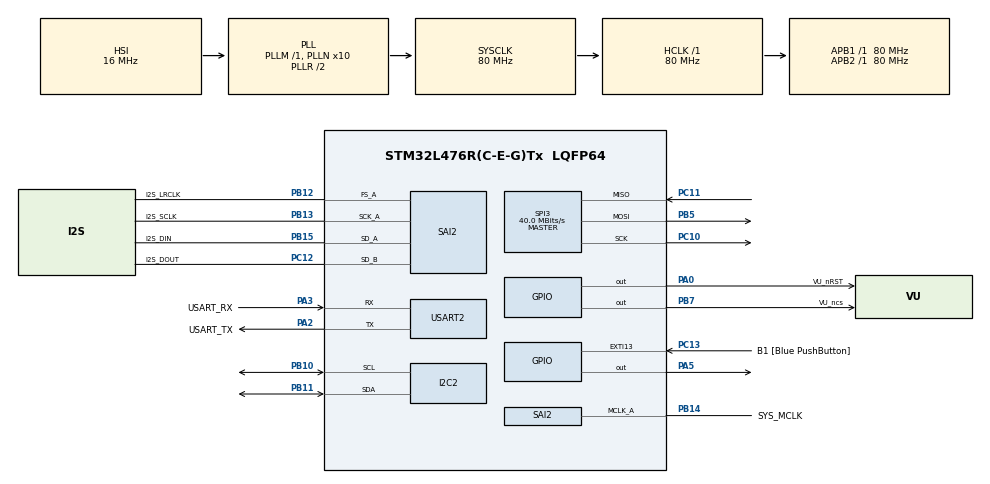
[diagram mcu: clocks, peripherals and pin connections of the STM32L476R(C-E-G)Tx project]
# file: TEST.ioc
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Dma.Request0=SAI2_B
Dma.Request1=SAI2_A
Dma.SAI2_A.1.Direction=DMA_MEMORY_TO_PERIPH
Dma.SAI2_A.1.Instance=DMA1_Channel6
Dma.SAI2_A.1.MemDataAlignment=DMA_MDATAALIGN_WORD
Dma.SAI2_A.1.MemInc=DMA_MINC_ENABLE
Dma.SAI2_A.1.Mode=DMA_CIRCULAR
Dma.SAI2_A.1.PeriphDataAlignment=DMA_PDATAALIGN_WORD
Dma.SAI2_A.1.PeriphInc=DMA_PINC_DISABLE
Dma.SAI2_A.1.Priority=DMA_PRIORITY_LOW
Dma.SAI2_B.0.Direction=DMA_PERIPH_TO_MEMORY
Dma.SAI2_B.0.Instance=DMA1_Channel7
Dma.SAI2_B.0.MemDataAlignment=DMA_MDATAALIGN_WORD
Dma.SAI2_B.0.MemInc=DMA_MINC_ENABLE
Dma.SAI2_B.0.Mode=DMA_CIRCULAR
Dma.SAI2_B.0.PeriphDataAlignment=DMA_PDATAALIGN_WORD
Dma.SAI2_B.0.PeriphInc=DMA_PINC_DISABLE
Dma.SAI2_B.0.Priority=DMA_PRIORITY_LOW
I2C2.Timing=0x10D19CE4
Mcu.Family=STM32L4
Mcu.Name=STM32L476R(C-E-G)Tx
Mcu.Package=LQFP64
NVIC.DMA1_Channel6_IRQn=true\:0\:0\:false\:false\:true\:false\:true\:true
NVIC.DMA1_Channel7_IRQn=true\:0\:0\:false\:false\:true\:false\:true\:true
NVIC.PriorityGroup=NVIC_PRIORITYGROUP_4
NVIC.SAI2_IRQn=true\:0\:0\:false\:false\:true\:true\:true\:true
PA0.GPIO_Label=VU_nRST
PA0.Signal=GPIO_Output
PA13\ (JTMS-SWDIO).GPIO_Label=TMS
PA13\ (JTMS-SWDIO).Mode=Serial_Wire
PA13\ (JTMS-SWDIO).Signal=SYS_JTMS-SWDIO
PA14\ (JTCK-SWCLK).GPIO_Label=TCK
PA14\ (JTCK-SWCLK).Mode=Serial_Wire
PA14\ (JTCK-SWCLK).Signal=SYS_JTCK-SWCLK
PA2.GPIO_Label=USART_TX
PA2.GPIO_Mode=GPIO_MODE_AF_PP
PA2.GPIO_PuPd=GPIO_NOPULL
PA2.GPIO_Speed=GPIO_SPEED_FREQ_VERY_HIGH
PA2.Mode=Asynchronous
PA2.Signal=USART2_TX
PA3.GPIO_Label=USART_RX
PA3.GPIO_Mode=GPIO_MODE_AF_PP
PA3.GPIO_PuPd=GPIO_NOPULL
PA3.GPIO_Speed=GPIO_SPEED_FREQ_VERY_HIGH
PA3.Mode=Asynchronous
PA3.Signal=USART2_RX
PA5.Signal=GPIO_Output
PB10.Mode=I2C
PB10.Signal=I2C2_SCL
PB11.Mode=I2C
PB11.Signal=I2C2_SDA
PB12.GPIO_Label=I2S_LRCLK
PB12.Mode=SAI_A_MasterWithClock
PB12.Signal=SAI2_FS_A
PB13.GPIO_Label=I2S_SCLK
PB13.Mode=SAI_A_MasterWithClock
PB13.Signal=SAI2_SCK_A
PB14.GPIO_Label=SYS_MCLK
PB14.Mode=SAI_A_MasterWithClock
PB14.Signal=SAI2_MCLK_A
PB15.GPIO_Label=I2S_DIN
PB15.Mode=SAI_A_MasterWithClock
PB15.Signal=SAI2_SD_A
PB3\ (JTDO-TRACESWO).GPIO_Label=SWO
PB3\ (JTDO-TRACESWO).Signal=SYS_JTDO-SWO
PB5.Mode=Full_Duplex_Master
PB5.Signal=SPI3_MOSI
PB7.GPIO_Label=VU_ncs
PB7.GPIO_PuPd=GPIO_NOPULL
PB7.GPIO_Speed=GPIO_SPEED_FREQ_LOW
PB7.Signal=GPIO_Output
PC10.Mode=Full_Duplex_Master
PC10.Signal=SPI3_SCK
PC11.Mode=Full_Duplex_Master
PC11.Signal=SPI3_MISO
PC12.GPIO_Label=I2S_DOUT
PC12.Mode=SAI_B_SyncSlave
PC12.Signal=SAI2_SD_B
PC13.GPIO_Label=B1 [Blue PushButton]
PC13.GPIO_ModeDefaultEXTI=GPIO_MODE_IT_FALLING
PC13.GPIO_PuPd=GPIO_NOPULL
PC13.Signal=GPXTI13
PC14-OSC32_IN\ (PC14).Mode=LSE-External-Oscillator
PC14-OSC32_IN\ (PC14).Signal=RCC_OSC32_IN
PC15-OSC32_OUT\ (PC15).Mode=LSE-External-Oscillator
PC15-OSC32_OUT\ (PC15).Signal=RCC_OSC32_OUT
PH0-OSC_IN\ (PH0).Signal=RCC_OSC_IN
PH1-OSC_OUT\ (PH1).Signal=RCC_OSC_OUT
ProjectManager.HeapSize=0x200
ProjectManager.StackSize=0x400
ProjectManager.TargetToolchain=STM32CubeIDE
RCC.ADCFreq_Value=104000000
RCC.AHBFreq_Value=80000000
RCC.APB1Freq_Value=80000000
RCC.APB1TimFreq_Value=80000000
RCC.APB2Freq_Value=80000000
RCC.APB2TimFreq_Value=80000000
RCC.CortexFreq_Value=80000000
RCC.HCLKFreq_Value=80000000
RCC.HSE_VALUE=8000000
RCC.HSI_VALUE=16000000
RCC.MSI_VALUE=4000000
RCC.PLLN=10
RCC.PLLSAI1N=13
RCC.PLLSAI1P=RCC_PLLP_DIV17
RCC.PLLSourceVirtual=RCC_PLLSOURCE_HSI
RCC.PREFETCH_ENABLE=1
RCC.SYSCLKFreq_VALUE=80000000
RCC.SYSCLKSource=RCC_SYSCLKSOURCE_PLLCLK
RCC.USBFreq_Value=104000000
RCC.VCOOutputFreq_Value=160000000
SAI2.AudioFrequency-SAI_A_MasterWithClock=SAI_AUDIO_FREQUENCY_48K
SAI2.ErrorAudioFreq-SAI_A_MasterWithClock=-0.42 %
SAI2.InitProtocol-SAI_A_MasterWithClock=Enable
SAI2.InitProtocol-SAI_B_SyncSlave=Enable
SAI2.Instance-SAI_A_MasterWithClock=SAI$Index_Block_A
SAI2.Instance-SAI_B_SyncSlave=SAI$Index_Block_B
SAI2.MClockEnable-SAI_A_MasterWithClock=SAI_MASTERCLOCK_ENABLE
SAI2.RealAudioFreq-SAI_A_MasterWithClock=47.794 KHz
SAI2.VirtualMode-SAI_A_MasterWithClock=VM_MASTER
SAI2.VirtualMode-SAI_B_SyncSlave=VM_SLAVE
SAI2.VirtualProtocol-SAI_A_BASIC=VM_BASIC_PROTOCOL
SAI2.VirtualProtocol-SAI_B_BASIC=VM_BASIC_PROTOCOL
SPI3.CalculateBaudRate=40.0 MBits/s
SPI3.DataSize=SPI_DATASIZE_8BIT
SPI3.Direction=SPI_DIRECTION_2LINES
SPI3.Mode=SPI_MODE_MASTER
SPI3.VirtualType=VM_MASTER
USART2.VirtualMode-Asynchronous=VM_ASYNC
VP_SAI2_VP_$IpInstance_SAIA_SAI_BASIC.Mode=SAI_A_BASIC
VP_SAI2_VP_$IpInstance_SAIB_SAI_BASIC.Mode=SAI_B_BASIC
board=NUCLEO-L476RG

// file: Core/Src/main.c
/* USER CODE BEGIN Header */
/**
  ******************************************************************************
  * @file           : main.c
  * @brief          : Main program body
  ******************************************************************************
  * @attention
  *
  * Copyright (c) 2025 STMicroelectronics.
  * All rights reserved.
  *
  * This software is licensed under terms that can be found in the LICENSE file
  * in the root directory of this software component.
  * If no LICENSE file comes with this software, it is provided AS-IS.
  *
  ******************************************************************************
  */
/* USER CODE END Header */
#include "main.h"
#include "dma.h"
#include "i2c.h"
#include "sai.h"
#include "spi.h"
#include "usart.h"
#include "gpio.h"

/* USER CODE BEGIN Includes */
#include "stdio.h"
/* USER CODE END Includes */

/* USER CODE BEGIN PV */
extern SPI_HandleTypeDef hspi3;
/* USER CODE END PV */

void SystemClock_Config(void);
void PeriphCommonClock_Config(void);
/* USER CODE BEGIN PFP */
uint8_t MCP23S17_SPI_Transmit(uint8_t data);
void MCP23S17_WriteRegister(uint8_t reg, uint8_t value);
uint8_t MCP23S17_ReadRegister(uint8_t reg);
/* USER CODE END PFP */

/* USER CODE BEGIN 0 */

// minicom -D /dev/ttyACM-1
// ctrl+a puis q

int __io_putchar(int ch) {
	HAL_UART_Transmit(&huart2, (uint8_t *)&ch, 1, HAL_MAX_DELAY);
	return ch;
}
/* USER CODE END 0 */

int main(void)
{

  /* MCU Configuration--------------------------------------------------------*/

  /* Reset of all peripherals, Initializes the Flash interface and the Systick. */
  HAL_Init();

  /* USER CODE BEGIN Init */

 // __HAL_SAI_ENABLE(&hsai_BlockB2);

  /* USER CODE END Init */

  /* Configure the system clock */
  SystemClock_Config();

  /* Configure the peripherals common clocks */
  PeriphCommonClock_Config();

  /* Initialize all configured peripherals */
  MX_GPIO_Init();
  MX_DMA_Init();
  MX_USART2_UART_Init();
  MX_SPI3_Init();
  MX_I2C2_Init();
  MX_SAI2_Init();

  /* USER CODE BEGIN 2 */
  HAL_GPIO_WritePin(VU_nRST_GPIO_Port, VU_nRST_Pin, SET);
  HAL_GPIO_WritePin(VU_ncs_GPIO_Port, VU_ncs_Pin, SET);
  MCP23S17_WriteRegister(0x00,  0x00);
  MCP23S17_WriteRegister(0x01,  0x00);
  int val = 255;

  __HAL_SAI_ENABLE(&hsai_BlockA2);
  init_sgtl(&hi2c2);
  unsigned char data;

  /* USER CODE END 2 */

  /* Infinite loop */
  /* USER CODE BEGIN WHILE */

  while (1)
  {
	     /* Faire clignoter la LED de la NUCLEO */

	  	  HAL_I2C_Mem_Read(&hi2c2, 0x14, 0x0000, I2C_MEMADD_SIZE_8BIT, data, sizeof(data), HAL_MAX_DELAY);
	      /*HAL_GPIO_TogglePin(GPIOA, GPIO_PIN_5);
	      HAL_Delay(500);

	      /* Mettre GPA0 à 1 */
	      /*for(int i=1; i<=8;i++)
	      {
	    	  val = val<<1;
	    	  printf("val = %d", val);
	    	  MCP23S17_WriteRegister(0x12, val);
	    	  MCP23S17_WriteRegister(0x13, val);
	    	  HAL_Delay(500);
	    	  if (i==8)
	    	 	    	  {
	    	 	    	  	/* Mettre GPA0 à 0 */
	 	 /*   	  	val=0xFF;
	    	 	    	  	MCP23S17_WriteRegister(0x12, val);
	    	 	    	  	MCP23S17_WriteRegister(0x13, val);
	    	 	    	  }
	      }

	      //printf("GPIO toggled\r\n");

    /* USER CODE END WHILE */

  }
}

void SystemClock_Config(void)
{
  RCC_OscInitTypeDef RCC_OscInitStruct = {0};
  RCC_ClkInitTypeDef RCC_ClkInitStruct = {0};

  /** Configure the main internal regulator output voltage
  */
  if (HAL_PWREx_ControlVoltageScaling(PWR_REGULATOR_VOLTAGE_SCALE1) != HAL_OK)
  {
    Error_Handler();
  }

  /** Initializes the RCC Oscillators according to the specified parameters
  * in the RCC_OscInitTypeDef structure.
  */
  RCC_OscInitStruct.OscillatorType = RCC_OSCILLATORTYPE_HSI;
  RCC_OscInitStruct.HSIState = RCC_HSI_ON;
  RCC_OscInitStruct.HSICalibrationValue = RCC_HSICALIBRATION_DEFAULT;
  RCC_OscInitStruct.PLL.PLLState = RCC_PLL_ON;
  RCC_OscInitStruct.PLL.PLLSource = RCC_PLLSOURCE_HSI;
  RCC_OscInitStruct.PLL.PLLM = 1;
  RCC_OscInitStruct.PLL.PLLN = 10;
  RCC_OscInitStruct.PLL.PLLP = RCC_PLLP_DIV7;
  RCC_OscInitStruct.PLL.PLLQ = RCC_PLLQ_DIV2;
  RCC_OscInitStruct.PLL.PLLR = RCC_PLLR_DIV2;
  if (HAL_RCC_OscConfig(&RCC_OscInitStruct) != HAL_OK)
  {
    Error_Handler();
  }

  /** Initializes the CPU, AHB and APB buses clocks
  */
  RCC_ClkInitStruct.ClockType = RCC_CLOCKTYPE_HCLK|RCC_CLOCKTYPE_SYSCLK
                              |RCC_CLOCKTYPE_PCLK1|RCC_CLOCKTYPE_PCLK2;
  RCC_ClkInitStruct.SYSCLKSource = RCC_SYSCLKSOURCE_PLLCLK;
  RCC_ClkInitStruct.AHBCLKDivider = RCC_SYSCLK_DIV1;
  RCC_ClkInitStruct.APB1CLKDivider = RCC_HCLK_DIV1;
  RCC_ClkInitStruct.APB2CLKDivider = RCC_HCLK_DIV1;

  if (HAL_RCC_ClockConfig(&RCC_ClkInitStruct, FLASH_LATENCY_4) != HAL_OK)
  {
    Error_Handler();
  }
}

void PeriphCommonClock_Config(void)
{
  RCC_PeriphCLKInitTypeDef PeriphClkInit = {0};

  /** Initializes the peripherals clock
  */
  PeriphClkInit.PeriphClockSelection = RCC_PERIPHCLK_SAI2;
  PeriphClkInit.Sai2ClockSelection = RCC_SAI2CLKSOURCE_PLLSAI1;
  PeriphClkInit.PLLSAI1.PLLSAI1Source = RCC_PLLSOURCE_HSI;
  PeriphClkInit.PLLSAI1.PLLSAI1M = 1;
  PeriphClkInit.PLLSAI1.PLLSAI1N = 13;
  PeriphClkInit.PLLSAI1.PLLSAI1P = RCC_PLLP_DIV17;
  PeriphClkInit.PLLSAI1.PLLSAI1Q = RCC_PLLQ_DIV2;
  PeriphClkInit.PLLSAI1.PLLSAI1R = RCC_PLLR_DIV2;
  PeriphClkInit.PLLSAI1.PLLSAI1ClockOut = RCC_PLLSAI1_SAI1CLK;
  if (HAL_RCCEx_PeriphCLKConfig(&PeriphClkInit) != HAL_OK)
  {
    Error_Handler();
  }
}

void Error_Handler(void)
{
  __disable_irq();
  while (1)
  {
  }
}
